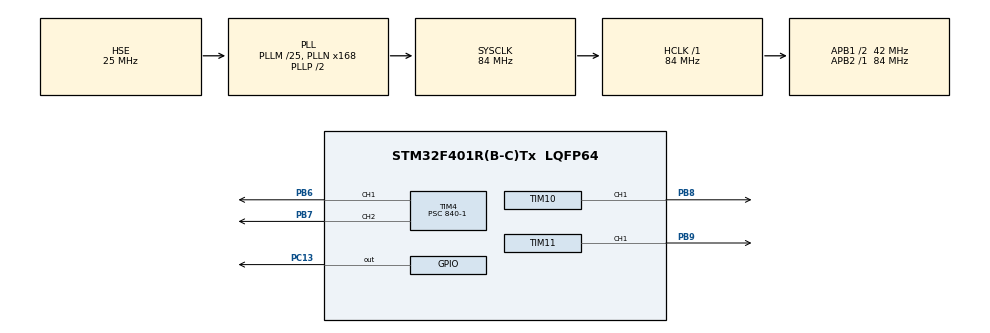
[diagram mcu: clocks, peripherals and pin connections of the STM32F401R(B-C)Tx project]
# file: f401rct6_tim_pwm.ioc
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Mcu.Family=STM32F4
Mcu.Name=STM32F401R(B-C)Tx
Mcu.Package=LQFP64
NVIC.PriorityGroup=NVIC_PRIORITYGROUP_4
PA13.Mode=Serial_Wire
PA13.Signal=SYS_JTMS-SWDIO
PA14.Mode=Serial_Wire
PA14.Signal=SYS_JTCK-SWCLK
PB6.Signal=S_TIM4_CH1
PB7.Signal=S_TIM4_CH2
PB8.Signal=S_TIM10_CH1
PB9.Signal=S_TIM11_CH1
PC13-ANTI_TAMP.Signal=GPIO_Output
PC14-OSC32_IN.Mode=LSE-External-Oscillator
PC14-OSC32_IN.Signal=RCC_OSC32_IN
PC15-OSC32_OUT.Mode=LSE-External-Oscillator
PC15-OSC32_OUT.Signal=RCC_OSC32_OUT
PH0\ -\ OSC_IN.Mode=HSE-External-Oscillator
PH0\ -\ OSC_IN.Signal=RCC_OSC_IN
PH1\ -\ OSC_OUT.Mode=HSE-External-Oscillator
PH1\ -\ OSC_OUT.Signal=RCC_OSC_OUT
ProjectManager.HeapSize=0x200
ProjectManager.StackSize=0x400
ProjectManager.TargetToolchain=STM32CubeIDE
RCC.48MHZClocksFreq_Value=42000000
RCC.AHBFreq_Value=84000000
RCC.APB1CLKDivider=RCC_HCLK_DIV2
RCC.APB1Freq_Value=42000000
RCC.APB1TimFreq_Value=84000000
RCC.APB2Freq_Value=84000000
RCC.APB2TimFreq_Value=84000000
RCC.CortexFreq_Value=84000000
RCC.HCLKFreq_Value=84000000
RCC.HSE_VALUE=25000000
RCC.HSI_VALUE=16000000
RCC.PLLM=25
RCC.PLLN=168
RCC.PLLSourceVirtual=RCC_PLLSOURCE_HSE
RCC.SYSCLKFreq_VALUE=84000000
RCC.SYSCLKSource=RCC_SYSCLKSOURCE_PLLCLK
RCC.VCOOutputFreq_Value=168000000
SH.S_TIM10_CH1.0=TIM10_CH1,PWM Generation1 CH1
SH.S_TIM11_CH1.0=TIM11_CH1,PWM Generation1 CH1
SH.S_TIM4_CH1.0=TIM4_CH1,PWM Generation1 CH1
SH.S_TIM4_CH2.0=TIM4_CH2,PWM Generation2 CH2
TIM10.Channel=TIM_CHANNEL_1
TIM10.OCPolarity_1=TIM_OCPOLARITY_LOW
TIM10.Period=4000-1
TIM10.Prescaler=840-1
TIM10.Pulse=3000
TIM11.AutoReloadPreload=TIM_AUTORELOAD_PRELOAD_ENABLE
TIM11.Channel=TIM_CHANNEL_1
TIM11.OCPolarity_1=TIM_OCPOLARITY_LOW
TIM11.Period=2000-1
TIM11.Prescaler=840-1
TIM11.Pulse=1000
TIM4.AutoReloadPreload=TIM_AUTORELOAD_PRELOAD_ENABLE
TIM4.Channel-PWM\ Generation1\ CH1=TIM_CHANNEL_1
TIM4.Channel-PWM\ Generation2\ CH2=TIM_CHANNEL_2
TIM4.OCPolarity_1=TIM_OCPOLARITY_LOW
TIM4.OCPolarity_2=TIM_OCPOLARITY_LOW
TIM4.Period=1000-1
TIM4.Prescaler=840-1
VP_TIM10_VS_ClockSourceINT.Mode=Enable_Timer
VP_TIM11_VS_ClockSourceINT.Mode=Enable_Timer
VP_TIM4_VS_ClockSourceINT.Mode=Internal
board=custom

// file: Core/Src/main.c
/* USER CODE BEGIN Header */
/**
  ******************************************************************************
  * @file           : main.c
  * @brief          : Main program body
  ******************************************************************************
  * @attention
  *
  * Copyright (c) 2024 STMicroelectronics.
  * All rights reserved.
  *
  * This software is licensed under terms that can be found in the LICENSE file
  * in the root directory of this software component.
  * If no LICENSE file comes with this software, it is provided AS-IS.
  *
  ******************************************************************************
  */
/* USER CODE END Header */
#include "main.h"

TIM_HandleTypeDef htim4;
TIM_HandleTypeDef htim10;
TIM_HandleTypeDef htim11;

void SystemClock_Config(void);
static void MX_GPIO_Init(void);
static void MX_TIM10_Init(void);
static void MX_TIM11_Init(void);
static void MX_TIM4_Init(void);

/* USER CODE BEGIN 0 */
void PWM_SetPulse(TIM_HandleTypeDef *htim, uint32_t channel, uint16_t value) {
	HAL_TIM_PWM_Stop(htim, channel);
	TIM_OC_InitTypeDef sConfigOC = {0};
	sConfigOC.OCMode = TIM_OCMODE_PWM1;
	sConfigOC.Pulse = value;
	sConfigOC.OCPolarity = TIM_OCPOLARITY_LOW;
	sConfigOC.OCFastMode = TIM_OCFAST_DISABLE;
	if (HAL_TIM_PWM_ConfigChannel(htim, &sConfigOC, channel) != HAL_OK)
	{
		Error_Handler();
	}
	HAL_TIM_PWM_Start(htim, channel);
}
/* USER CODE END 0 */

int main(void)
{

  /* MCU Configuration--------------------------------------------------------*/

  /* Reset of all peripherals, Initializes the Flash interface and the Systick. */
  HAL_Init();

  /* Configure the system clock */
  SystemClock_Config();

  /* Initialize all configured peripherals */
  MX_GPIO_Init();
  MX_TIM10_Init();
  MX_TIM11_Init();
  MX_TIM4_Init();
  /* USER CODE BEGIN 2 */
  HAL_TIM_PWM_Start(&htim10, TIM_CHANNEL_1);
  HAL_TIM_PWM_Start(&htim11, TIM_CHANNEL_1);
  /* USER CODE END 2 */

  /* Infinite loop */
  /* USER CODE BEGIN WHILE */

  uint16_t v10 = 0;
  uint16_t v11 = 0;
  while (1)
  {
    /* USER CODE END WHILE */

    /* USER CODE BEGIN 3 */
	  v10 = (v10 + 100) % 4000;
	  v11 = (v11 + 100) % 2000;
	  PWM_SetPulse(&htim10, TIM_CHANNEL_1, v10);
	  PWM_SetPulse(&htim11, TIM_CHANNEL_1, v11);
	  HAL_Delay(1000);
	  HAL_TIM_PWM_Stop(&htim11, TIM_CHANNEL_1);
	  HAL_GPIO_WritePin(GPIOC, GPIO_PIN_13, GPIO_PIN_SET);
	  HAL_Delay(1000);
	  HAL_TIM_PWM_Start(&htim11, TIM_CHANNEL_1);
	  HAL_GPIO_WritePin(GPIOC, GPIO_PIN_13, GPIO_PIN_RESET);
  }
  /* USER CODE END 3 */
}

void SystemClock_Config(void)
{
  RCC_OscInitTypeDef RCC_OscInitStruct = {0};
  RCC_ClkInitTypeDef RCC_ClkInitStruct = {0};

  /** Configure the main internal regulator output voltage
  */
  __HAL_RCC_PWR_CLK_ENABLE();
  __HAL_PWR_VOLTAGESCALING_CONFIG(PWR_REGULATOR_VOLTAGE_SCALE2);

  /** Initializes the RCC Oscillators according to the specified parameters
  * in the RCC_OscInitTypeDef structure.
  */
  RCC_OscInitStruct.OscillatorType = RCC_OSCILLATORTYPE_HSE;
  RCC_OscInitStruct.HSEState = RCC_HSE_ON;
  RCC_OscInitStruct.PLL.PLLState = RCC_PLL_ON;
  RCC_OscInitStruct.PLL.PLLSource = RCC_PLLSOURCE_HSE;
  RCC_OscInitStruct.PLL.PLLM = 25;
  RCC_OscInitStruct.PLL.PLLN = 168;
  RCC_OscInitStruct.PLL.PLLP = RCC_PLLP_DIV2;
  RCC_OscInitStruct.PLL.PLLQ = 4;
  if (HAL_RCC_OscConfig(&RCC_OscInitStruct) != HAL_OK)
  {
    Error_Handler();
  }

  /** Initializes the CPU, AHB and APB buses clocks
  */
  RCC_ClkInitStruct.ClockType = RCC_CLOCKTYPE_HCLK|RCC_CLOCKTYPE_SYSCLK
                              |RCC_CLOCKTYPE_PCLK1|RCC_CLOCKTYPE_PCLK2;
  RCC_ClkInitStruct.SYSCLKSource = RCC_SYSCLKSOURCE_PLLCLK;
  RCC_ClkInitStruct.AHBCLKDivider = RCC_SYSCLK_DIV1;
  RCC_ClkInitStruct.APB1CLKDivider = RCC_HCLK_DIV2;
  RCC_ClkInitStruct.APB2CLKDivider = RCC_HCLK_DIV1;

  if (HAL_RCC_ClockConfig(&RCC_ClkInitStruct, FLASH_LATENCY_2) != HAL_OK)
  {
    Error_Handler();
  }
}

static void MX_TIM4_Init(void)
{

  TIM_ClockConfigTypeDef sClockSourceConfig = {0};
  TIM_MasterConfigTypeDef sMasterConfig = {0};
  TIM_OC_InitTypeDef sConfigOC = {0};

  htim4.Instance = TIM4;
  htim4.Init.Prescaler = 840-1;
  htim4.Init.CounterMode = TIM_COUNTERMODE_UP;
  htim4.Init.Period = 1000-1;
  htim4.Init.ClockDivision = TIM_CLOCKDIVISION_DIV1;
  htim4.Init.AutoReloadPreload = TIM_AUTORELOAD_PRELOAD_ENABLE;
  if (HAL_TIM_Base_Init(&htim4) != HAL_OK)
  {
    Error_Handler();
  }
  sClockSourceConfig.ClockSource = TIM_CLOCKSOURCE_INTERNAL;
  if (HAL_TIM_ConfigClockSource(&htim4, &sClockSourceConfig) != HAL_OK)
  {
    Error_Handler();
  }
  if (HAL_TIM_PWM_Init(&htim4) != HAL_OK)
  {
    Error_Handler();
  }
  sMasterConfig.MasterOutputTrigger = TIM_TRGO_RESET;
  sMasterConfig.MasterSlaveMode = TIM_MASTERSLAVEMODE_DISABLE;
  if (HAL_TIMEx_MasterConfigSynchronization(&htim4, &sMasterConfig) != HAL_OK)
  {
    Error_Handler();
  }
  sConfigOC.OCMode = TIM_OCMODE_PWM1;
  sConfigOC.Pulse = 0;
  sConfigOC.OCPolarity = TIM_OCPOLARITY_LOW;
  sConfigOC.OCFastMode = TIM_OCFAST_DISABLE;
  if (HAL_TIM_PWM_ConfigChannel(&htim4, &sConfigOC, TIM_CHANNEL_1) != HAL_OK)
  {
    Error_Handler();
  }
  if (HAL_TIM_PWM_ConfigChannel(&htim4, &sConfigOC, TIM_CHANNEL_2) != HAL_OK)
  {
    Error_Handler();
  }
  HAL_TIM_MspPostInit(&htim4);

}

static void MX_TIM10_Init(void)
{

  TIM_OC_InitTypeDef sConfigOC = {0};

  htim10.Instance = TIM10;
  htim10.Init.Prescaler = 840-1;
  htim10.Init.CounterMode = TIM_COUNTERMODE_UP;
  htim10.Init.Period = 4000-1;
  htim10.Init.ClockDivision = TIM_CLOCKDIVISION_DIV1;
  htim10.Init.AutoReloadPreload = TIM_AUTORELOAD_PRELOAD_DISABLE;
  if (HAL_TIM_Base_Init(&htim10) != HAL_OK)
  {
    Error_Handler();
  }
  if (HAL_TIM_PWM_Init(&htim10) != HAL_OK)
  {
    Error_Handler();
  }
  sConfigOC.OCMode = TIM_OCMODE_PWM1;
  sConfigOC.Pulse = 3000;
  sConfigOC.OCPolarity = TIM_OCPOLARITY_LOW;
  sConfigOC.OCFastMode = TIM_OCFAST_DISABLE;
  if (HAL_TIM_PWM_ConfigChannel(&htim10, &sConfigOC, TIM_CHANNEL_1) != HAL_OK)
  {
    Error_Handler();
  }
  HAL_TIM_MspPostInit(&htim10);

}

static void MX_TIM11_Init(void)
{

  TIM_OC_InitTypeDef sConfigOC = {0};

  htim11.Instance = TIM11;
  htim11.Init.Prescaler = 840-1;
  htim11.Init.CounterMode = TIM_COUNTERMODE_UP;
  htim11.Init.Period = 2000-1;
  htim11.Init.ClockDivision = TIM_CLOCKDIVISION_DIV1;
  htim11.Init.AutoReloadPreload = TIM_AUTORELOAD_PRELOAD_ENABLE;
  if (HAL_TIM_Base_Init(&htim11) != HAL_OK)
  {
    Error_Handler();
  }
  if (HAL_TIM_PWM_Init(&htim11) != HAL_OK)
  {
    Error_Handler();
  }
  sConfigOC.OCMode = TIM_OCMODE_PWM1;
  sConfigOC.Pulse = 1000;
  sConfigOC.OCPolarity = TIM_OCPOLARITY_LOW;
  sConfigOC.OCFastMode = TIM_OCFAST_DISABLE;
  if (HAL_TIM_PWM_ConfigChannel(&htim11, &sConfigOC, TIM_CHANNEL_1) != HAL_OK)
  {
    Error_Handler();
  }
  HAL_TIM_MspPostInit(&htim11);

}

static void MX_GPIO_Init(void)
{
  GPIO_InitTypeDef GPIO_InitStruct = {0};

  /* GPIO Ports Clock Enable */
  __HAL_RCC_GPIOC_CLK_ENABLE();
  __HAL_RCC_GPIOH_CLK_ENABLE();
  __HAL_RCC_GPIOA_CLK_ENABLE();
  __HAL_RCC_GPIOB_CLK_ENABLE();

  /*Configure GPIO pin Output Level */
  HAL_GPIO_WritePin(GPIOC, GPIO_PIN_13, GPIO_PIN_RESET);

  /*Configure GPIO pin : PC13 */
  GPIO_InitStruct.Pin = GPIO_PIN_13;
  GPIO_InitStruct.Mode = GPIO_MODE_OUTPUT_PP;
  GPIO_InitStruct.Pull = GPIO_NOPULL;
  GPIO_InitStruct.Speed = GPIO_SPEED_FREQ_LOW;
  HAL_GPIO_Init(GPIOC, &GPIO_InitStruct);

}

void Error_Handler(void)
{
  __disable_irq();
  while (1)
  {
  }
}
